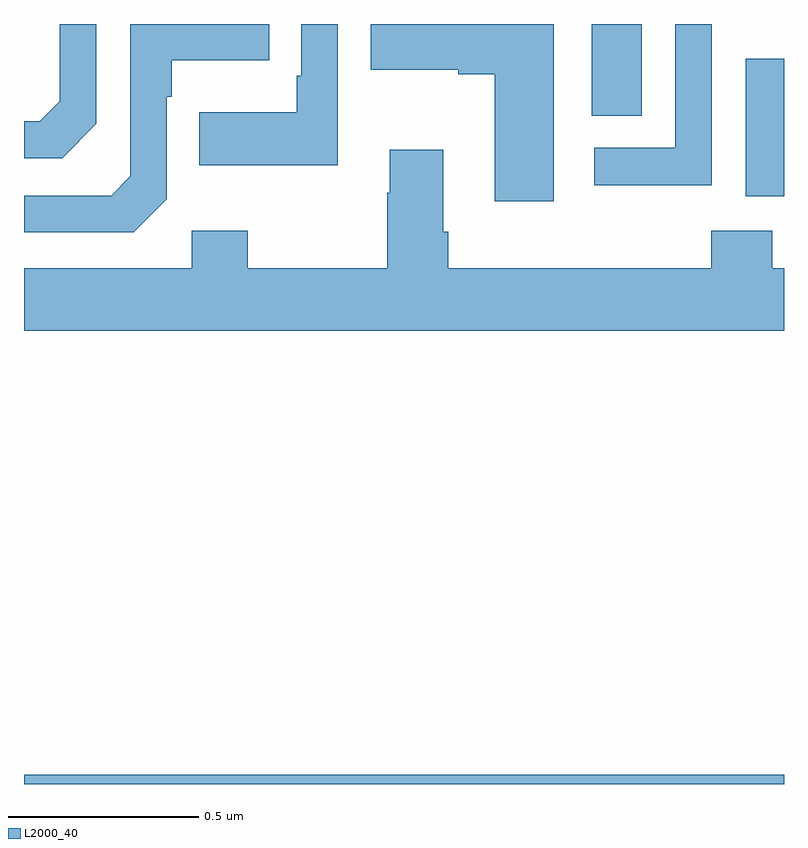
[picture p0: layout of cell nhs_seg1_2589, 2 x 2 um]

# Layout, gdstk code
import gdstk
lib = gdstk.Library(unit=1e-6, precision=1e-09)
def R(c, l, rs):  # rectangles x0, y0, x1, y1
    for r in rs: c.add(gdstk.rectangle(r[:2], r[2:], *l))
def P(c, l, *ps):  # polygons
    for p in ps: c.add(gdstk.Polygon(p, *l))
L2000_40 = (2000, 40)

nhs_seg1_2589 = lib.new_cell('nhs_seg1_2589')
R(nhs_seg1_2589, L2000_40, [(143,557.199,145,557.224), (144.899,558.746,145,559.107), (144.494,558.958,144.625,559.199)])
P(nhs_seg1_2589, L2000_40, [(143.376,558.738),(143.376,559.007),(143.389,559.007),(143.389,559.103),(143.645,559.103),(143.645,559.199),(143.28,559.199),(143.28,558.798),(143.229,558.747),(143,558.747),(143,558.651),(143.289,558.651)],
  [(144.394,559.199),(143.913,559.199),(143.913,559.079),(144.143,559.079),(144.143,559.067),(144.239,559.067),(144.239,558.732),(144.394,558.732)],
  [(144.81,559.199),(144.714,559.199),(144.714,558.873),(144.501,558.873),(144.501,558.775),(144.81,558.775)],
  [(143.826,559.199),(143.73,559.199),(143.73,559.063),(143.718,559.063),(143.718,558.967),(143.461,558.967),(143.461,558.827),(143.826,558.827)],
  [(143.19,558.936),(143.19,559.199),(143.094,559.199),(143.094,558.996),(143.041,558.943),(143,558.943),(143,558.846),(143.1,558.846)],
  [(144.103,558.652),(144.103,558.868),(143.963,558.868),(143.963,558.755),(143.956,558.755),(143.956,558.556),(143.589,558.556),(143.589,558.655),(143.442,558.655),(143.442,558.556),(143,558.556),(143,558.392),(145,558.392),(145,558.556),(144.969,558.556),(144.969,558.655),(144.809,558.655),(144.809,558.556),(144.116,558.556),(144.116,558.652)])

lib.write_gds('nhs_seg1_2589.gds')
